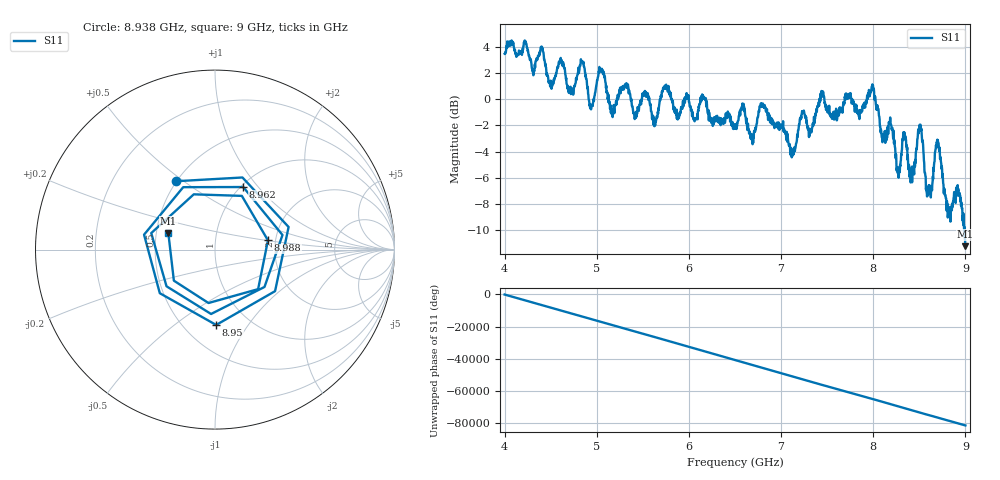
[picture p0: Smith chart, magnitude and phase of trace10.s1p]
! Created with skrf 1.8.0 (http://scikit-rf.org).
# Hz S RI R 50.0
!freq ReS11 ImS11
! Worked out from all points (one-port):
!   1601 points, 4 GHz to 9 GHz, reference 50 ohm
!   lowest |S11| = -11.2 dB at 9 GHz (marker M1), VSWR 1.76, Z = 29 + j5.69 ohm
!   |S11| at or under -10 dB: 8.986036 GHz to 8.989929 GHz (3.893 MHz wide, 0.0433 % of centre); 8.992085 GHz to end of sweep
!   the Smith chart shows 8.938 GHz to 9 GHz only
!   S11 on the Smith chart (normalised r, x): 8.938 GHz: 0.50, +0.47; 8.95 GHz: 0.71, -0.72; 8.962 GHz: 1.03, +0.84; 8.988 GHz: 1.82, +0.21; 9 GHz: 0.58, +0.11
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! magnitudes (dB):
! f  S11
! 4 GHz  3.5
! 4.503 GHz  0.9
! 4.625 GHz  2.8
! 4.722 GHz  0.7
! 4.844 GHz  2.9
! 4.938 GHz  -0.8
! 5.041 GHz  2.2
! 5.166 GHz  -1.1
! 5.25 GHz  0.6
! 5.875 GHz  -1.4
! 6.5 GHz  -1.9
! 6.806 GHz  -0.6
! 7.125 GHz  -4.3
! 7.441 GHz  0.2
! 7.75 GHz  0.2
! 7.994 GHz  0.8
! 8.269 GHz  -5.5
! 8.375 GHz  -4.3
! 8.419 GHz  -5.1
! 8.509 GHz  -2.1
! 8.6 GHz  -7.1
! 8.697 GHz  -3.2
! 8.812 GHz  -8.7
! 8.938 GHz  -7.2
! 8.95 GHz  -7.5
! 8.962 GHz  -8.3
! 8.988 GHz  -10.5
! 9 GHz  -11.2
